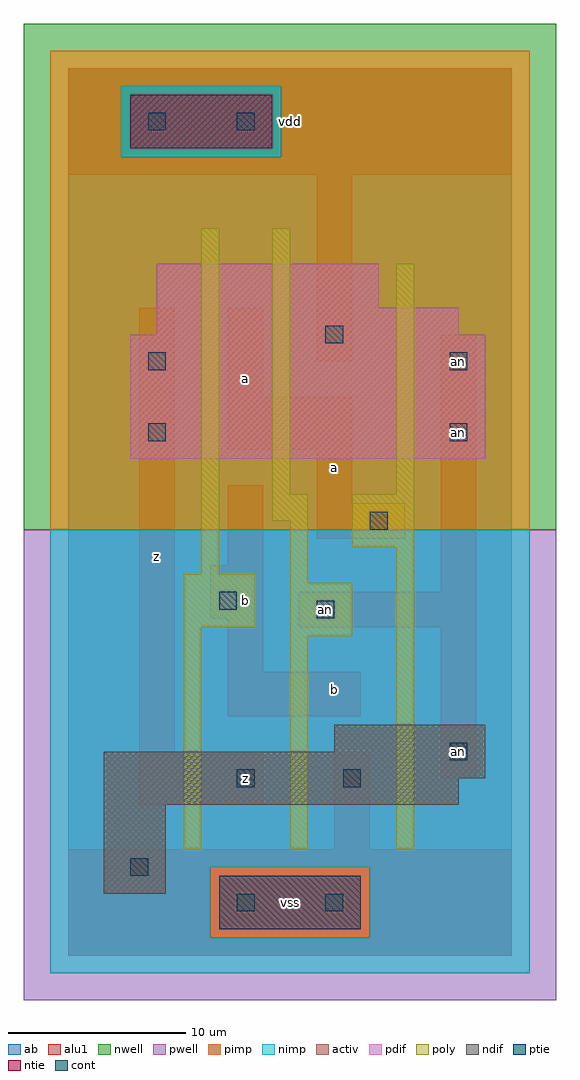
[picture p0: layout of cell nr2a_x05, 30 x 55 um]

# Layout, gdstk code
import gdstk
lib = gdstk.Library(unit=1e-6, precision=1e-09)
def R(c, l, rs):  # rectangles x0, y0, x1, y1
    for r in rs: c.add(gdstk.rectangle(r[:2], r[2:], *l))
ndif = (3, 0)
pdif = (4, 0)
ntie = (5, 0)
ptie = (6, 0)
cont = (25, 0)
pwell = (41, 0)
nwell = (42, 0)
activ = (43, 0)
pimp = (44, 0)
nimp = (45, 0)
poly = (46, 0)
alu1 = (49, 0)
ab = (63, 0)

nr2a_x05 = lib.new_cell('nr2a_x05')
R(nr2a_x05, ndif, [(2,3.5,5.5,8.5), (2,8.5,22,10), (2,10,23.5,11.5), (15,11.5,23.5,13)])
R(nr2a_x05, pdif, [(3.5,28,23.5,35), (5,35,22,36.5), (5,36.5,17.5,39)])
R(nr2a_x05, ntie, [(3.5,45.5,11.5,48.5)])
R(nr2a_x05, ptie, [(8.5,1.5,16.5,4.5)])
R(nr2a_x05, cont, [(9.5,2.5,10.5,3.5), (14.5,2.5,15.5,3.5), (3.5,4.5,4.5,5.5), (9.5,9.5,10.5,10.5), (15.5,9.5,16.5,10.5), (21.5,11,22.5,12), (14,19,15,20), (8.5,19.5,9.5,20.5), (17,24,18,25), (4.5,29,5.5,30), (21.5,29,22.5,30), (4.5,33,5.5,34), (21.5,33,22.5,34), (14.5,34.5,15.5,35.5), (4.5,46.5,5.5,47.5), (9.5,46.5,10.5,47.5)])
R(nr2a_x05, pwell, [(-2.5,-2.5,27.5,24)])
R(nr2a_x05, nwell, [(-2.5,24,27.5,52.5)])
R(nr2a_x05, activ, [(8.5,1.5,16.5,4.5), (2,3.5,5.5,8.5), (2,8.5,22,10), (2,10,23.5,11.5), (15,11.5,23.5,13), (3.5,28,23.5,35), (5,35,22,36.5), (5,36.5,17.5,39), (3.5,45.5,11.5,48.5)])
R(nr2a_x05, pimp, [(8,1,17,5), (-1,24,26,45), (-1,45,3,49), (12,45,26,49), (-1,49,26,51)])
R(nr2a_x05, nimp, [(-1,-1,26,1), (-1,1,8,5), (17,1,26,5), (-1,5,26,24), (3,45,12,49)])
R(nr2a_x05, poly, [(6.5,6,7.5,18.5), (12.5,6,13.5,18), (18.5,6,19.5,23), (12.5,18,16,21), (6.5,18.5,10.5,21.5), (12.5,21,13.5,24.5), (7.5,21.5,8.5,41), (16,23,19.5,26), (11.5,24.5,13.5,26), (11.5,26,12.5,41), (18.5,26,19.5,39)])
R(nr2a_x05, alu1, [(0,0,25,6), (0,0,25,6), (15,6,17,11.5), (15,6,17,11.5), (4,8.5,11,11.5), (4,8.5,11,11.5), (21,10,23,18.5), (21,10,23,18.5), (4,11.5,6,36.5), (4,11.5,6,36.5), (9,13.5,16.5,16), (9,13.5,16.5,16), (9,16,11,19), (9,16,11,19), (13,18.5,23,20.5), (13,18.5,23,20.5), (8,19,11,22), (8,19,11,22), (21,20.5,23,35), (21,20.5,23,35), (9,22,11,26.5), (9,22,11,26.5), (14,23.5,19,25.5), (14,23.5,19,25.5), (14,25.5,16,28.5), (14,25.5,16,28.5), (9,28.5,16,31.5), (9,28.5,16,31.5), (9,31.5,11,36.5), (9,31.5,11,36.5), (14,33.5,16,44), (14,33.5,16,44), (0,44,25,50), (0,44,25,50)])
R(nr2a_x05, ab, [(0,0,25,50)])
nr2a_x05.add(gdstk.Label('an', (14.5,19.5), layer=49, texttype=0))
nr2a_x05.add(gdstk.Label('an', (22,11.5), layer=49, texttype=0))
nr2a_x05.add(gdstk.Label('an', (22,29.5), layer=49, texttype=0))
nr2a_x05.add(gdstk.Label('an', (22,33.5), layer=49, texttype=0))
nr2a_x05.add(gdstk.Label('z', (10,10), layer=49, texttype=0))
nr2a_x05.add(gdstk.Label('z', (5,22.5), layer=49, texttype=0))
nr2a_x05.add(gdstk.Label('b', (10,20), layer=49, texttype=0))
nr2a_x05.add(gdstk.Label('a', (10,32.5), layer=49, texttype=0))
nr2a_x05.add(gdstk.Label('vss', (12.5,3), layer=49, texttype=0))
nr2a_x05.add(gdstk.Label('b', (15,15), layer=49, texttype=0))
nr2a_x05.add(gdstk.Label('a', (15,27.5), layer=49, texttype=0))
nr2a_x05.add(gdstk.Label('vdd', (12.5,47), layer=49, texttype=0))

lib.write_gds('nr2a_x05.gds')
